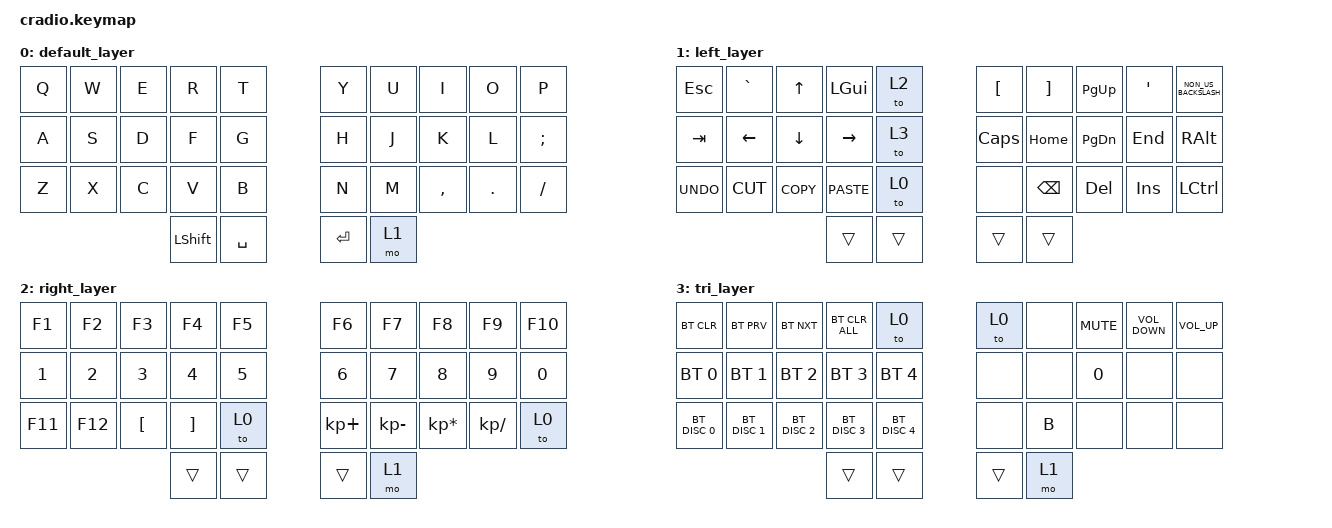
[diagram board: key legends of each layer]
/*
 * Copyright (c) 2020 The ZMK Contributors
 *
 * SPDX-License-Identifier: MIT
 */

#include <behaviors.dtsi>
#include <dt-bindings/zmk/bt.h>
#include <dt-bindings/zmk/keys.h>

&mt {
    //  flavor = "tap-preferred";
    // tapping_term_ms = <200>;
};

/ {
    combos {
        compatible = "zmk,combos";

        combo_esc {
            timeout-ms = <50>;
            key-positions = <0 1>;
            bindings = <&kp ESC>;
        };

        combo_tab {
            timeout-ms = <50>;
            key-positions = <10 11>;
            bindings = <&kp TAB>;
        };

        combo_ralt {
            timeout-ms = <50>;
            key-positions = <17 16>;
            bindings = <&kp RALT>;
        };

        combo_lalt {
            timeout-ms = <50>;
            key-positions = <11 12>;
            bindings = <&kp LALT>;
        };

        combo_lgui {
            timeout-ms = <50>;
            key-positions = <12 13>;
            bindings = <&kp LGUI>;
        };

        combo_rgui {
            timeout-ms = <50>;
            key-positions = <17 18>;
            bindings = <&kp RGUI>;
        };
    };

    keymap {
        compatible = "zmk,keymap";

        default_layer {
            bindings = <
&kp Q  &kp W  &kp E  &kp R           &kp T      &kp Y      &kp U  &kp I      &kp O       &kp P
&kp A  &kp S  &kp D  &kp F           &kp G      &kp H      &kp J  &kp K      &kp L       &kp SEMICOLON
&kp Z  &kp X  &kp C  &kp V           &kp B      &kp N      &kp M  &kp COMMA  &kp PERIOD  &kp SLASH
                     &kp LEFT_SHIFT  &kp SPACE  &kp ENTER  &mo 1
            >;
        };

        left_layer {
            bindings = <
&kp ESCAPE  &kp GRAVE       &kp UP_ARROW  &kp LEFT_GUI     &to 2   &kp LEFT_BRACKET  &kp RIGHT_BRACKET  &kp PAGE_UP    &kp SINGLE_QUOTE  &kp NON_US_BACKSLASH
&kp TAB     &kp LEFT_ARROW  &kp DOWN      &kp RIGHT_ARROW  &to 3   &kp CAPS          &kp HOME           &kp PAGE_DOWN  &kp END           &kp RIGHT_ALT
&kp K_UNDO  &kp K_CUT       &kp K_COPY    &kp K_PASTE      &to 0   &none             &kp BACKSPACE      &kp DELETE     &kp INSERT        &kp LEFT_CONTROL
                                          &trans           &trans  &trans            &trans
            >;
        };

        right_layer {
            bindings = <
&kp F1        &kp F2        &kp F3        &kp F4        &kp F5  &kp F6        &kp F7        &kp F8           &kp F9         &kp F10
&kp NUMBER_1  &kp NUMBER_2  &kp NUMBER_3  &kp NUMBER_4  &kp N5  &kp NUMBER_6  &kp N7        &kp N8           &kp N9         &kp N0
&kp F11       &kp F12       &kp LBKT      &kp RBKT      &to 0   &kp KP_PLUS   &kp KP_MINUS  &kp KP_MULTIPLY  &kp KP_DIVIDE  &to 0
                                          &trans        &trans  &trans        &mo 1
            >;
        };

        tri_layer {
            bindings = <
&bt BT_CLR     &bt BT_PRV     &bt BT_NXT     &bt BT_CLR_ALL  &to 0          &to 0   &none  &kp C_MUTE  &kp C_VOLUME_DOWN  &kp C_VOLUME_UP
&bt BT_SEL 0   &bt BT_SEL 1   &bt BT_SEL 2   &bt BT_SEL 3    &bt BT_SEL 4   &none   &none  &kp N0      &none              &none
&bt BT_DISC 0  &bt BT_DISC 1  &bt BT_DISC 2  &bt BT_DISC 3   &bt BT_DISC 4  &none   &kp B  &none       &none              &none
                                             &trans          &trans         &trans  &mo 1
            >;
        };
    };
};
